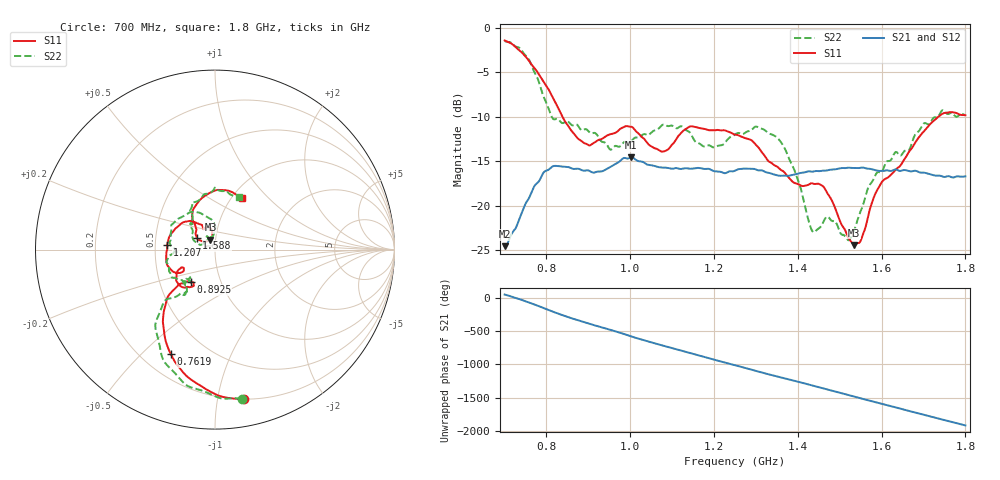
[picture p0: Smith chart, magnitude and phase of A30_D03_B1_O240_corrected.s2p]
! Created with skrf 1.9.0 (http://scikit-rf.org).
# Hz S RI R 50.0
!freq ReS11 ImS11 ReS21 ImS21 ReS12 ImS12 ReS22 ImS22
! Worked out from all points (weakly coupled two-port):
!   1601 points, 700 MHz to 1.8 GHz, reference 50 ohm
!   highest |S21| = -14.56 dB at 1.002 GHz (marker M1); lowest = -24.5 dB at 701.4 MHz (marker M2)
!   lowest |S11| = -24.4 dB at 1.535 GHz (marker M3), VSWR 1.13, Z = 47.2 + j5.19 ohm
!   |S11| at or under -10 dB: 838.4 MHz to 1.735 GHz (896.6 MHz wide, 69.7 % of centre)
!   |S22| runs from -23.9 to -1.5 dB; largest |S21 - S12| = 0.0035
!   S11 on the Smith chart (normalised r, x): 700 MHz: 0.20, -1.19; 761.9 MHz: 0.32, -0.62; 892.5 MHz: 0.72, -0.27; 1.207 GHz: 0.58, +0.03; 1.588 GHz: 0.81, +0.11; 1.8 GHz: 1.12, +0.71
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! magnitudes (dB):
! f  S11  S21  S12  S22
! 700 MHz  -1.4  -24.5  -24.3  -1.5
! 701.4 MHz  -1.4  -24.5  -24.1  -1.5
! 761.9 MHz  -4.0  -18.7  -18.7  -3.9
! 814.8 MHz  -7.8  -15.6  -15.6  -10.2
! 883.6 MHz  -12.7  -16.0  -15.9  -11.5
! 892.5 MHz  -13.0  -16.0  -16.1  -11.4
! 953 MHz  -11.9  -15.6  -15.6  -13.7
! 1.002 GHz  -11.1  -14.6  -14.7  -12.7
! 1.067 GHz  -13.7  -15.6  -15.6  -11.3
! 1.142 GHz  -11.1  -15.8  -15.8  -11.7
! 1.207 GHz  -11.5  -16.1  -16.2  -13.3
! 1.25 GHz  -12.0  -16.0  -16.0  -12.0
! 1.357 GHz  -15.8  -16.6  -16.5  -12.6
! 1.434 GHz  -17.5  -16.1  -16.1  -22.8
! 1.463 GHz  -18.0  -16.0  -16.0  -21.6
! 1.52 GHz  -23.5  -15.7  -15.7  -23.8
! 1.535 GHz  -24.4  -15.7  -15.8  -22.7
! 1.552 GHz  -23.6  -15.7  -15.7  -20.3
! 1.588 GHz  -18.4  -16.0  -16.0  -16.3
! 1.617 GHz  -16.7  -16.0  -16.0  -15.0
! 1.737 GHz  -9.9  -16.6  -16.6  -9.8
! 1.8 GHz  -9.8  -16.7  -16.7  -9.9
